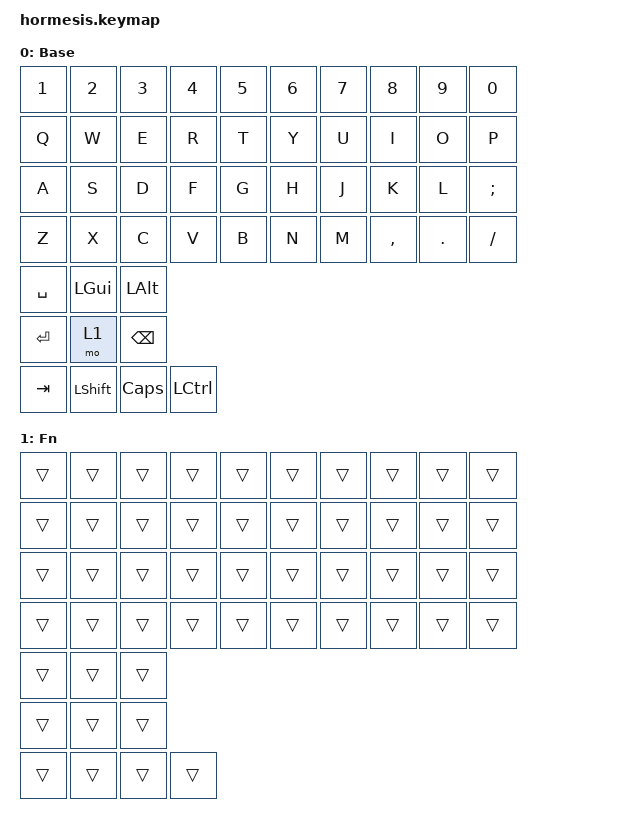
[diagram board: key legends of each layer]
#include <behaviors.dtsi>
#include <dt-bindings/zmk/keys.h>

/ {
    keymap {
        compatible = "zmk,keymap";

        default_layer { // Layer 0 - Base QWERTY
            display-name = "Base";
            bindings = <
                /* Row 0 - Number Row */
                &kp N1 &kp N2 &kp N3 &kp N4 &kp N5 &kp N6 &kp N7 &kp N8 &kp N9 &kp N0

                /* Row 1 - QWERTY Row */
                &kp Q &kp W &kp E &kp R &kp T &kp Y &kp U &kp I &kp O &kp P

                /* Row 2 - ASDF Row */
                &kp A &kp S &kp D &kp F &kp G &kp H &kp J &kp K &kp L &kp SEMICOLON

                /* Row 3 - ZXCV Row */
                &kp Z &kp X &kp C &kp V &kp B &kp N &kp M &kp COMMA &kp DOT &kp SLASH

                /* Left thumb cluster - outer to near */
                &kp SPACE &kp LGUI &kp LALT

                /* Right thumb cluster - near to far */
                &kp ENTER &mo 1 &kp BSPC

                /* Outer keys */
                &kp TAB &kp LSHIFT
                &kp CAPS &kp LCTRL
            >;
        };

        layer1 { // Layer 1 - Example function layer
            display-name = "Fn";
            bindings = <
                &trans &trans &trans &trans &trans &trans &trans &trans &trans &trans
                &trans &trans &trans &trans &trans &trans &trans &trans &trans &trans
                &trans &trans &trans &trans &trans &trans &trans &trans &trans &trans
                &trans &trans &trans &trans &trans &trans &trans &trans &trans &trans
                &trans &trans &trans
                &trans &trans &trans
                &trans &trans &trans &trans
            >;
        };
    };
};
